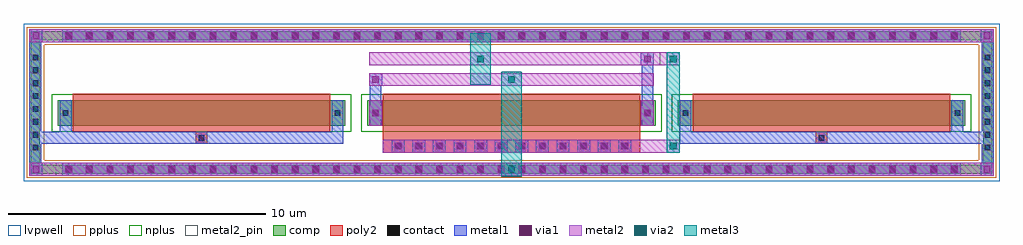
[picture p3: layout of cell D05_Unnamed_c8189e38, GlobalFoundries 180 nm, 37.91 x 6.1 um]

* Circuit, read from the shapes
.subckt D05_Unnamed_c8189e38 VSS
XM1 VSS VSS VSS VSS nfet_03v3 w=1u l=10u m=2
XM2 D05_Unnamed_2c7a0012_4/VOUT D05_Unnamed_2c7a0012_4/VOUT VSS VSS nfet_03v3 w=1u l=10u
.ends

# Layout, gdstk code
import gdstk
lib = gdstk.Library(unit=1e-6, precision=5e-09)
def R(c, l, rs):  # rectangles x0, y0, x1, y1
    for r in rs: c.add(gdstk.rectangle(r[:2], r[2:], *l))
def A(c, l, x, y, w, h, nx, ny, dx, dy):  # array of equal rectangles
    R(c, l, [(x+i*dx, y+j*dy, x+i*dx+w, y+j*dy+h) for i in range(nx) for j in range(ny)])
def P(c, l, *ps):  # polygons
    for p in ps: c.add(gdstk.Polygon(p, *l))
comp = (22, 0)
poly2 = (30, 0)
pplus = (31, 0)
nplus = (32, 0)
contact = (33, 0)
metal1 = (34, 0)
via1 = (35, 0)
metal2 = (36, 0)
metal2_pin = (36, 10)
via2 = (38, 0)
metal3 = (42, 0)
lvpwell = (204, 0)

d05_unnamed_a9cb9ae6 = lib.new_cell('D05_Unnamed_a9cb9ae6')
A(d05_unnamed_a9cb9ae6, comp, -17.38, -2.77, 0.36, 0.36, 44, 2, 0.8, 5.18)
A(d05_unnamed_a9cb9ae6, comp, -18.675, -1.93, 0.36, 0.36, 1, 8, 0, 0.5)
A(d05_unnamed_a9cb9ae6, comp, 18.315, -1.93, 0.36, 0.36, 1, 8, 0, 0.5)
R(d05_unnamed_a9cb9ae6, comp, [(-17.38,-2.77,17.38,-2.41), (-18.675,-1.93,-18.315,1.93), (18.315,-1.93,18.675,1.93), (-17.62,-0.905,-6.46,0.095), (-5.6,-0.905,5.6,0.095), (6.46,-0.905,17.62,0.095), (-17.38,2.41,17.38,2.77)])
P(d05_unnamed_a9cb9ae6, comp, [(-18.675,-2.77),(-18.675,-2.41),(-18.315,-2.41),(18.315,-2.41),(18.315,2.41),(-18.315,2.41),(-18.315,-2.41),(-18.675,-2.41),(-18.675,2.77),(18.675,2.77),(18.675,-2.77)])
A(d05_unnamed_a9cb9ae6, poly2, -4.58, -1.875, 0.36, 0.36, 12, 1, 0.8, 0)
A(d05_unnamed_a9cb9ae6, poly2, -17.04, -1.145, 10, 1.48, 3, 1, 12.04, 0)
R(d05_unnamed_a9cb9ae6, poly2, [(-5,-1.945,5,-1.445), (-12.27,-1.605,-11.81,-1.145), (11.81,-1.605,12.27,-1.145), (-12.22,-1.555,-11.86,-1.195), (11.86,-1.555,12.22,-1.195), (-5,-1.445,5,-1.145)])
P(d05_unnamed_a9cb9ae6, pplus, [(-18.835,-2.93),(-18.835,-2.25),(-18.155,-2.25),(18.155,-2.25),(18.155,2.25),(-18.155,2.25),(-18.155,-2.25),(-18.835,-2.25),(-18.835,2.93),(18.835,2.93),(18.835,-2.93)])
R(d05_unnamed_a9cb9ae6, nplus, [(-17.85,-1.135,-6.23,0.325), (-5.83,-1.135,5.83,0.325), (6.23,-1.135,17.85,0.325)])
A(d05_unnamed_a9cb9ae6, contact, -17.31, -2.7, 0.22, 0.22, 44, 2, 0.8, 5.18)
A(d05_unnamed_a9cb9ae6, contact, -18.605, -1.86, 0.22, 0.22, 1, 8, 0, 0.5)
A(d05_unnamed_a9cb9ae6, contact, 18.385, -1.86, 0.22, 0.22, 1, 8, 0, 0.5)
A(d05_unnamed_a9cb9ae6, contact, -4.51, -1.805, 0.22, 0.22, 12, 1, 0.8, 0)
R(d05_unnamed_a9cb9ae6, contact, [(-12.15,-1.485,-11.93,-1.265), (11.93,-1.485,12.15,-1.265), (-17.43,-0.515,-17.21,-0.295), (-6.87,-0.515,-6.65,-0.295), (-5.39,-0.515,-5.17,-0.295), (5.17,-0.515,5.39,-0.295), (6.65,-0.515,6.87,-0.295), (17.21,-0.515,17.43,-0.295)])
A(d05_unnamed_a9cb9ae6, metal1, -17.45, -2.84, 0.5, 0.5, 44, 2, 0.8, 5.18)
A(d05_unnamed_a9cb9ae6, metal1, -18.725, -1.98, 0.46, 0.46, 1, 8, 0, 0.5)
A(d05_unnamed_a9cb9ae6, metal1, 18.265, -1.98, 0.46, 0.46, 1, 8, 0, 0.5)
A(d05_unnamed_a9cb9ae6, metal1, -4.65, -1.945, 0.5, 0.5, 12, 1, 0.8, 0)
R(d05_unnamed_a9cb9ae6, metal1, [(-18.725,-2.84,-18.225,-2.34), (-18.725,-2.84,-18.225,-2.34), (-18.725,-2.84,-18.265,-2.41), (-17.45,-2.84,17.45,-2.34), (18.225,-2.84,18.725,-2.34), (18.225,-2.84,18.725,-2.34), (18.265,-2.84,18.725,-2.41), (-18.725,-2.41,-18.265,2.41), (18.265,-2.41,18.725,2.41), (-18.725,-1.605,-12.27,-1.145), (-17.55,-1.605,-12.27,-1.145), (-17.55,-1.605,-17.09,-0.905), (-12.27,-1.605,-11.81,-1.145), (-11.81,-1.605,-6.53,-1.145), (-6.99,-1.605,-6.53,-0.905), (6.53,-1.605,11.81,-1.145), (6.53,-1.605,6.99,-0.905), (11.81,-1.605,12.27,-1.145), (11.81,-1.605,18.725,-1.145), (12.27,-1.605,17.55,-1.145), (17.09,-1.605,17.55,-0.905), (-17.55,-0.905,-17.09,0.095), (-6.99,-0.905,-6.53,0.095), (-5.51,-0.905,-5.05,0.095), (5.05,-0.905,5.51,0.095), (6.53,-0.905,6.99,0.095), (17.09,-0.905,17.55,0.095), (-5.53,-0.655,-5.03,-0.155), (-5.53,-0.655,-5.03,-0.155), (5.03,-0.655,5.53,-0.155), (5.03,-0.655,5.53,-0.155), (-17.55,-0.635,-17.09,-0.175), (-6.99,-0.635,-6.53,-0.175), (-5.51,-0.635,-5.05,-0.175), (5.05,-0.635,5.51,-0.175), (6.53,-0.635,6.99,-0.175), (17.09,-0.635,17.55,-0.175), (-5.51,0.095,-5.05,1.145), (5.05,0.095,5.51,1.945), (-5.53,0.645,-5.03,1.145), (5.03,1.445,5.53,1.945), (-18.725,2.34,-18.225,2.84), (-18.725,2.34,-18.225,2.84), (-17.45,2.34,17.45,2.84), (18.225,2.34,18.725,2.84), (18.225,2.34,18.725,2.84), (-18.725,2.41,-18.265,2.84), (18.265,2.41,18.725,2.84)])
A(d05_unnamed_a9cb9ae6, via1, -17.33, -2.72, 0.26, 0.26, 44, 2, 0.8, 5.18)
A(d05_unnamed_a9cb9ae6, via1, -4.53, -1.825, 0.26, 0.26, 12, 1, 0.8, 0)
R(d05_unnamed_a9cb9ae6, via1, [(-18.605,-2.72,-18.345,-2.46), (18.345,-2.72,18.605,-2.46), (-5.41,-0.535,-5.15,-0.275), (5.15,-0.535,5.41,-0.275), (-5.41,0.765,-5.15,1.025), (5.15,1.565,5.41,1.825), (-18.605,2.46,-18.345,2.72), (18.345,2.46,18.605,2.72)])
A(d05_unnamed_a9cb9ae6, metal2, -17.45, -2.84, 0.5, 0.5, 44, 2, 0.8, 5.18)
A(d05_unnamed_a9cb9ae6, metal2, -4.65, -1.945, 0.5, 0.5, 12, 1, 0.8, 0)
R(d05_unnamed_a9cb9ae6, metal2, [(-18.725,-2.84,-18.225,-2.34), (-18.725,-2.84,-18.225,-2.34), (-18.725,-2.84,-18.315,-2.34), (-18.315,-2.84,18.315,-2.34), (18.225,-2.84,18.725,-2.34), (18.225,-2.84,18.725,-2.34), (18.315,-2.84,18.725,-2.34), (-5,-1.945,5,-1.445), (-5.53,-0.905,-5.03,0.095), (5.03,-0.905,5.53,0.095), (-5.53,-0.655,-5.03,-0.155), (5.03,-0.655,5.53,-0.155), (-5.53,0.645,5.53,1.145), (-5.53,0.645,-5.03,1.145), (-5.53,1.445,5.53,1.945), (5.03,1.445,5.53,1.945), (-18.725,2.34,-18.225,2.84), (-18.725,2.34,-18.225,2.84), (-18.725,2.34,-18.315,2.84), (-18.315,2.34,18.315,2.84), (18.225,2.34,18.725,2.84), (18.225,2.34,18.725,2.84), (18.315,2.34,18.725,2.84)])
R(d05_unnamed_a9cb9ae6, lvpwell, [(-18.955,-3.05,18.955,3.05)])

d05_c_route_8320ed88_1 = lib.new_cell('D05_c_route_8320ed88_1')
R(d05_c_route_8320ed88_1, metal2, [(5,-1.945,6.53,-1.445), (6.03,-1.945,6.53,-1.445), (5.53,1.445,6.53,1.945), (6.03,1.445,6.53,1.945)])
R(d05_c_route_8320ed88_1, via2, [(6.15,-1.825,6.41,-1.565), (6.15,1.565,6.41,1.825)])
R(d05_c_route_8320ed88_1, metal3, [(6.03,-1.945,6.53,-1.445), (6.03,-1.945,6.53,-1.445), (6.03,-1.945,6.53,1.945), (6.03,1.445,6.53,1.945), (6.03,1.445,6.53,1.945)])
P(d05_c_route_8320ed88_1, metal3, [(6.53,-1.945),(6.53,-1.445),(6.53,-1.445),(6.53,-1.945)],
  [(6.53,1.445),(6.53,1.945),(6.53,1.945),(6.53,1.445)])

d05_unnamed_cd074b15 = lib.new_cell('D05_Unnamed_cd074b15')
d05_unnamed_cd074b15.add(gdstk.Reference(d05_unnamed_a9cb9ae6, (0,0)))
d05_unnamed_cd074b15.add(gdstk.Reference(d05_c_route_8320ed88_1, (0,0)))

d05_via_stack_c2d496bb_6 = lib.new_cell('D05_via_stack_c2d496bb_69')
R(d05_via_stack_c2d496bb_6, metal2, [(-0.25,-0.25,0.25,0.25)])
R(d05_via_stack_c2d496bb_6, via2, [(-0.13,-0.13,0.13,0.13)])
R(d05_via_stack_c2d496bb_6, metal3, [(-0.25,-0.25,0.25,0.25)])

d05_via_stack_c2d496bb_7 = lib.new_cell('D05_via_stack_c2d496bb_70')
R(d05_via_stack_c2d496bb_7, metal2, [(-0.25,-0.25,0.25,0.25)])
R(d05_via_stack_c2d496bb_7, via2, [(-0.13,-0.13,0.13,0.13)])
R(d05_via_stack_c2d496bb_7, metal3, [(-0.25,-0.25,0.25,0.25)])

c_d05_via_stack_c2d496bb_7 = lib.new_cell('D05_via_stack_c2d496bb_71')
R(c_d05_via_stack_c2d496bb_7, metal2, [(-0.25,-0.25,0.25,0.25)])
R(c_d05_via_stack_c2d496bb_7, via2, [(-0.13,-0.13,0.13,0.13)])
R(c_d05_via_stack_c2d496bb_7, metal3, [(-0.25,-0.25,0.25,0.25)])

d05_compass_df8d0505_12 = lib.new_cell('D05_compass_df8d0505_12')
R(d05_compass_df8d0505_12, metal2_pin, [(-0.25,-0.25,0.25,0.25)])

d05_unnamed_2c7a0012 = lib.new_cell('D05_Unnamed_2c7a0012')
d05_unnamed_2c7a0012.add(gdstk.Reference(d05_compass_df8d0505_12, (0,0)))
d05_unnamed_2c7a0012.add(gdstk.Label('VOUT', (0,0), layer=36, texttype=10))

d05_compass_df8d0505_13 = lib.new_cell('D05_compass_df8d0505_13')
R(d05_compass_df8d0505_13, metal2_pin, [(-0.25,-0.25,0.25,0.25)])

d05_unnamed_df79fb1a = lib.new_cell('D05_Unnamed_df79fb1a')
d05_unnamed_df79fb1a.add(gdstk.Reference(d05_compass_df8d0505_13, (0,0)))
d05_unnamed_df79fb1a.add(gdstk.Label('VSS', (0,0), layer=36, texttype=10))

d05_unnamed_c8189e38 = lib.new_cell('D05_Unnamed_c8189e38')
R(d05_unnamed_c8189e38, metal3, [(-0.4,-2.89,0.4,1.195), (-1.6,0.695,-0.8,2.695)])
d05_unnamed_c8189e38.add(gdstk.Reference(d05_unnamed_cd074b15, (0,0)))
d05_unnamed_c8189e38.add(gdstk.Reference(d05_via_stack_c2d496bb_6, (0,0.895)))
d05_unnamed_c8189e38.add(gdstk.Reference(d05_via_stack_c2d496bb_7, (0,-2.59)))
d05_unnamed_c8189e38.add(gdstk.Reference(c_d05_via_stack_c2d496bb_7, (-1.2,1.695)))
d05_unnamed_c8189e38.add(gdstk.Reference(d05_unnamed_2c7a0012, (5.53,1.695)))
d05_unnamed_c8189e38.add(gdstk.Reference(d05_unnamed_df79fb1a, (-17.45,-2.59)))

lib.write_gds('D05_Unnamed_c8189e38.gds')
